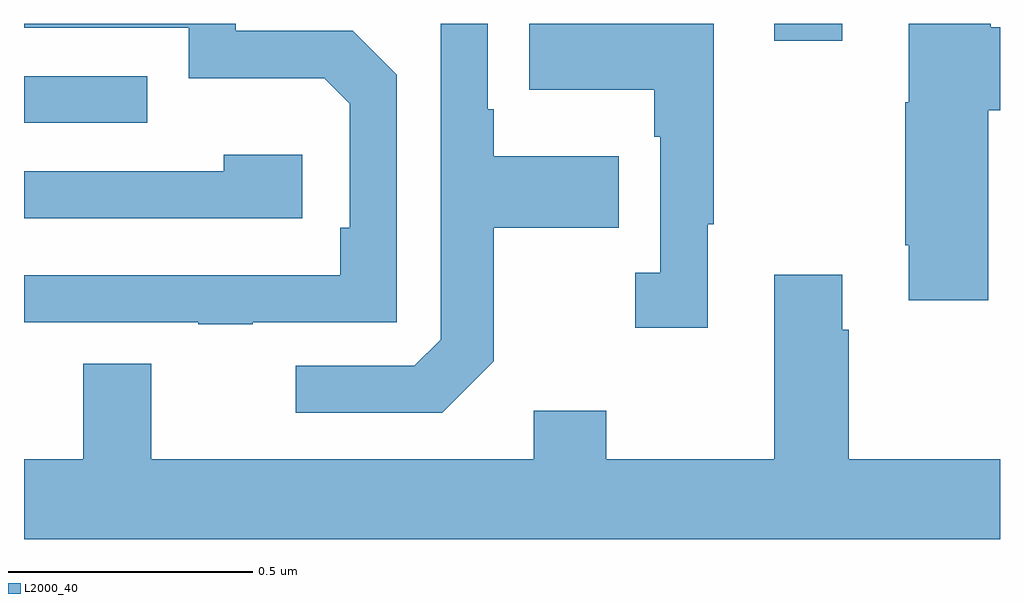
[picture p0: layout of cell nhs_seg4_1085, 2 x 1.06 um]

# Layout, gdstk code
import gdstk
lib = gdstk.Library(unit=1e-6, precision=1e-09)
def R(c, l, rs):  # rectangles x0, y0, x1, y1
    for r in rs: c.add(gdstk.rectangle(r[:2], r[2:], *l))
def P(c, l, *ps):  # polygons
    for p in ps: c.add(gdstk.Polygon(p, *l))
L2000_40 = (2000, 40)

nhs_seg4_1085 = lib.new_cell('nhs_seg4_1085')
R(nhs_seg4_1085, L2000_40, [(124,773.697,124.253,773.793), (125.537,773.865,125.677,773.9)])
P(nhs_seg4_1085, L2000_40, [(124.469,773.289),(124.764,773.289),(124.764,773.796),(124.674,773.886),(124.434,773.886),(124.434,773.9),(124,773.9),(124,773.892),(124.338,773.892),(124.338,773.789),(124.615,773.789),(124.668,773.736),(124.668,773.482),(124.648,773.482),(124.648,773.385),(124,773.385),(124,773.289),(124.357,773.289),(124.357,773.284),(124.469,773.284)],
  [(125.976,773.723),(126,773.723),(126,773.893),(125.981,773.893),(125.981,773.9),(125.813,773.9),(125.813,773.739),(125.806,773.739),(125.806,773.446),(125.813,773.446),(125.813,773.334),(125.976,773.334)],
  [(124.963,773.209),(124.963,773.482),(125.219,773.482),(125.219,773.629),(124.963,773.629),(124.963,773.725),(124.95,773.725),(124.95,773.9),(124.854,773.9),(124.854,773.253),(124.8,773.199),(124.557,773.199),(124.557,773.103),(124.857,773.103)],
  [(125.401,773.489),(125.413,773.489),(125.413,773.9),(125.035,773.9),(125.035,773.765),(125.292,773.765),(125.292,773.669),(125.304,773.669),(125.304,773.39),(125.253,773.39),(125.253,773.277),(125.401,773.277)],
  [(124.57,773.632),(124.409,773.632),(124.409,773.598),(124,773.598),(124,773.502),(124.57,773.502)],
  [(126,773.008),(125.69,773.008),(125.69,773.273),(125.677,773.273),(125.677,773.386),(125.537,773.386),(125.537,773.008),(125.193,773.008),(125.193,773.107),(125.045,773.107),(125.045,773.008),(124.261,773.008),(124.261,773.203),(124.121,773.203),(124.121,773.008),(124,773.008),(124,772.844),(126,772.844)])

lib.write_gds('nhs_seg4_1085.gds')
